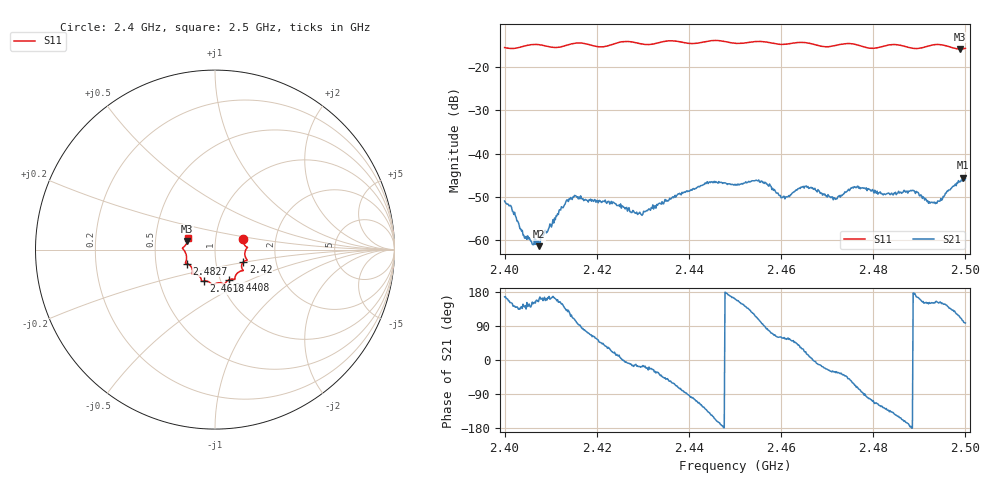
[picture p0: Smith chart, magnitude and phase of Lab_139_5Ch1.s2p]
# Hz S RI R 50
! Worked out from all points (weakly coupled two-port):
!   601 points, 2.4 GHz to 2.5 GHz, reference 50 ohm
!   highest |S21| = -45.56 dB at 2.4995 GHz (marker M1); lowest = -61.4 dB at 2.4075 GHz (marker M2)
!   lowest |S11| = -15.9 dB at 2.4988 GHz (marker M3), VSWR 1.38, Z = 36.5 + j3.39 ohm
!   |S11| at or under -10 dB: start of sweep to end of sweep
!   S12 and S22 are empty: the file has one direction only
!   S11 on the Smith chart (normalised r, x): 2.4 GHz: 1.36, +0.17; 2.42 GHz: 1.36, -0.19; 2.4408 GHz: 1.10, -0.38; 2.4618 GHz: 0.84, -0.30; 2.4827 GHz: 0.72, -0.12; 2.5 GHz: 0.73, +0.09
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2.4e9  0.1553 0.0616  -0.00276 0.000646  0 0  0 0
2.404333e9  0.1731 0.0165  -0.000811 0.000679  0 0  0 0
2.4075e9  0.18 0.0106  -0.000808 0.000274  0 0  0 0
2.413833e9  0.1731 -0.0493  -0.00185 0.0021  0 0  0 0
2.416667e9  0.1787 -0.059  0.000239 0.00302  0 0  0 0
2.42e9  0.1571 -0.0694  0.00162 0.00237  0 0  0 0
2.429333e9  0.1413 -0.1202  0.00201 -0.000614  0 0  0 0
2.433333e9  0.112 -0.1528  0.0022 -0.00142  0 0  0 0
2.440833e9  0.078 -0.1687  -0.000618 -0.00387  0 0  0 0
2.45e9  0.0275 -0.1853  -0.00419 0.00143  0 0  0 0
2.454667e9  -0.00965 -0.1961  -0.00192 0.00453  0 0  0 0
2.461833e9  -0.0609 -0.1748  0.00177 0.00264  0 0  0 0
2.466667e9  -0.0762 -0.168  0.00397 0.000302  0 0  0 0
2.471667e9  -0.1119 -0.1356  0.00263 -0.00157  0 0  0 0
2.476167e9  -0.1259 -0.1307  0.00157 -0.00374  0 0  0 0
2.482667e9  -0.1578 -0.0775  -0.00213 -0.00261  0 0  0 0
2.483333e9  -0.1616 -0.0764  -0.00238 -0.00258  0 0  0 0
2.4885e9  -0.1584 -0.0425  -0.00376 -1.86e-05  0 0  0 0
2.493333e9  -0.1805 0.00531  -0.00239 0.00136  0 0  0 0
2.498833e9  -0.1541 0.0452  -0.00178 0.00437  0 0  0 0
2.4995e9  -0.1521 0.0552  -0.0012 0.00514  0 0  0 0
2.5e9  -0.1511 0.0627  -0.000674 0.00506  0 0  0 0
